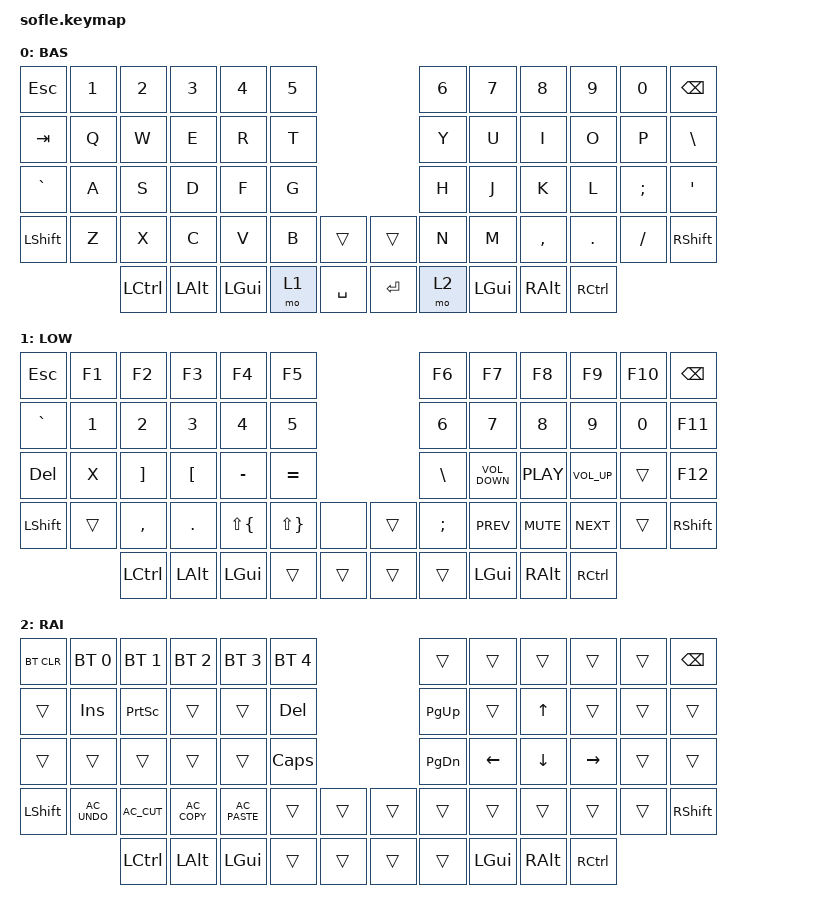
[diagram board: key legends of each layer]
#include <behaviors.dtsi>
#include <dt-bindings/zmk/bt.h>
#include <dt-bindings/zmk/keys.h>

/ {
    keymap {
        compatible = "zmk,keymap";

        default_layer {
            display-name = "BAS";
            bindings = <
&kp ESC    &kp N1  &kp N2     &kp N3    &kp N4    &kp N5                          &kp N6  &kp N7    &kp N8     &kp N9     &kp N0    &kp BSPC
&kp TAB    &kp Q   &kp W      &kp E     &kp R     &kp T                           &kp Y   &kp U     &kp I      &kp O      &kp P     &kp BSLH
&kp GRAVE  &kp A   &kp S      &kp D     &kp F     &kp G                           &kp H   &kp J     &kp K      &kp L      &kp SEMI  &kp SQT
&kp LSHFT  &kp Z   &kp X      &kp C     &kp V     &kp B   &trans       &trans     &kp N   &kp M     &kp COMMA  &kp DOT    &kp FSLH  &kp RSHFT
                   &kp LCTRL  &kp LALT  &kp LGUI  &mo 1   &kp SPACE    &kp ENTER  &mo 2   &kp LGUI  &kp RALT   &kp RCTRL
            >;
        };

        lower_layer {
            display-name = "LOW";
            bindings = <
&kp ESC    &kp F1  &kp F2     &kp F3    &kp F4        &kp F5                          &kp F6         &kp F7             &kp F8      &kp F9           &kp F10  &kp BSPC
&kp GRAVE  &kp N1  &kp N2     &kp N3    &kp N4        &kp N5                          &kp N6         &kp N7             &kp N8      &kp N9           &kp N0   &kp F11
&kp DEL    &kp X   &kp RBKT   &kp LBKT  &kp MINUS     &kp EQUAL                       &kp BSLH       &kp C_VOLUME_DOWN  &kp C_PLAY  &kp C_VOLUME_UP  &trans   &kp F12
&kp LSHFT  &trans  &kp COMMA  &kp DOT   &kp LS(LBRC)  &kp LS(RBRC)  &none     &trans  &kp SEMICOLON  &kp C_PREV         &kp C_MUTE  &kp C_NEXT       &trans   &kp RSHFT
                   &kp LCTRL  &kp LALT  &kp LGUI      &trans        &trans    &trans  &trans         &kp LGUI           &kp RALT    &kp RCTRL
            >;
        };

        raise_layer {
            display-name = "RAI";
            bindings = <
&bt BT_CLR  &bt BT_SEL 0   &bt BT_SEL 1     &bt BT_SEL 2   &bt BT_SEL 3    &bt BT_SEL 4                    &trans     &trans    &trans    &trans     &trans  &kp BSPC
&trans      &kp INS        &kp PRINTSCREEN  &trans         &trans          &kp DEL                         &kp PG_UP  &trans    &kp UP    &trans     &trans  &trans
&trans      &trans         &trans           &trans         &trans          &kp CAPS                        &kp PG_DN  &kp LEFT  &kp DOWN  &kp RIGHT  &trans  &trans
&kp LSHFT   &kp C_AC_UNDO  &kp C_AC_CUT     &kp C_AC_COPY  &kp C_AC_PASTE  &trans        &trans    &trans  &trans     &trans    &trans    &trans     &trans  &kp RSHFT
                           &kp LCTRL        &kp LALT       &kp LGUI        &trans        &trans    &trans  &trans     &kp LGUI  &kp RALT  &kp RCTRL
            >;
        };
    };
};
